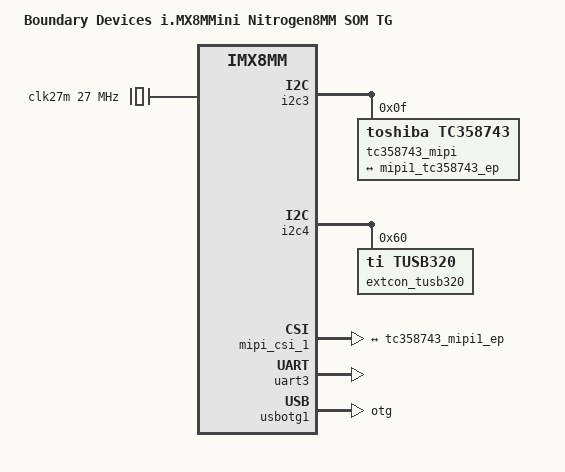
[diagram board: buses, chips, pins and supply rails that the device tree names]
// SPDX-License-Identifier: (GPL-2.0+ OR MIT)
/*
 * Copyright 2020 Boundary Devices
 */

#include "imx8mm-nitrogen8mm_som.dts"

/ {
	model = "Boundary Devices i.MX8MMini Nitrogen8MM SOM TG";
	compatible = "boundary,imx8mm-nitrogen8mm_som-tg", "fsl,imx8mm";

	/delete-node/ sound-wm8960;

	clk27m: clk27m {
		compatible = "fixed-clock";
		clock-output-names = "clk27m";
		clock-frequency = <27000000>;
		#clock-cells = <0>;
	};
};

&iomuxc {
	/delete-node/ i2c3-ov5640-mipigrp;

	pinctrl_i2c3_tc358743_mipi: i2c3-tc358743-mipigrp {
		fsl,pins = <
#define GP_TC3587_RESET	<&gpio4 22 GPIO_ACTIVE_LOW>
			MX8MMN(IOMUXC_SAI2_RXC_GPIO4_IO22, 0x101)
#define GP_TC3587_IRQ	<&gpio1 9 GPIO_ACTIVE_HIGH>
#define GPIRQ_TC3587	<&gpio1 9 IRQ_TYPE_LEVEL_HIGH>
			MX8MMN(IOMUXC_GPIO1_IO09_GPIO1_IO9, 0x1c1)
		>;
	};

	pinctrl_i2c4_usb320: i2c4-usb320grp {
		fsl,pins = <
#define GPIRQ_TUSB320	<&gpio4 19 IRQ_TYPE_LEVEL_LOW>
#define GP_TUSB320_IRQ	<&gpio4 19 GPIO_ACTIVE_LOW>
			MX8MMN(IOMUXC_SAI1_TXD7_GPIO4_IO19, 0x16)
			MX8MMN(IOMUXC_SAI1_TXD6_GPIO4_IO18, 0x00)
		>;
	};

	pinctrl_mipi_ls050t1sx12: mipi-ls050t1sx12grp {
		fsl,pins = <
		/* reset actually, but code calls it enable */
#define GP_MIPI_LS050_ENABLE	<&gpio1 1 GPIO_ACTIVE_HIGH>
			MX8MMN(IOMUXC_GPIO1_IO01_GPIO1_IO1, 0x100)
#define GP_MIPI_AVDD_ENABLE	<&gpio1 11 GPIO_ACTIVE_HIGH>
			MX8MMN(IOMUXC_GPIO1_IO11_GPIO1_IO11, 0x100)
		>;
	};

	pinctrl_uart3: uart3grp {
		fsl,pins = <
			MX8MMN(IOMUXC_ECSPI1_SCLK_UART3_DCE_RX, 0x140)
			MX8MMN(IOMUXC_ECSPI1_MOSI_UART3_DCE_TX, 0x140)
#define GP_UART3_RS485_RX_EN	<&gpio5 9 GPIO_ACTIVE_HIGH>	/* really active low */
			MX8MMN(IOMUXC_ECSPI1_SS0_GPIO5_IO9, 0x140)
#define GP_UART3_RS485_TX_EN	<&gpio5 8 GPIO_ACTIVE_HIGH>
			MX8MMN(IOMUXC_ECSPI1_MISO_GPIO5_IO8, 0x100)
		>;
	};

	pinctrl_usbotg1: usbotg1grp {
		fsl,pins = <
			MX8MMN(IOMUXC_GPIO1_IO12_USB1_OTG_PWR, 0x16)
			MX8MMN(IOMUXC_GPIO1_IO13_USB1_OTG_OC, 0x156)
		>;
	};
};

&backlight_mipi {
	brightness-levels = <0 1 2 3 4 5 6 7 8 9 10 11 12 13 14 15 16 17 18 19 20>;
	default-brightness-level = <16>;
};

&i2c2 {
	/delete-node/ rtc@68;
};

&i2c3 {
	/delete-node/ ov5640-mipi1@3c;

	tc358743_mipi@f {
		compatible = "toshiba,tc358743";
		pinctrl-names = "default";
		pinctrl-0 = <&pinctrl_i2c3_tc358743_mipi>;
		reg = <0x0f>;
		clocks = <&clk27m>;
		clock-names = "refclk";
		interrupts-extended = GPIRQ_TC3587;
		reset-gpios = GP_TC3587_RESET;
		status = "okay";

		port@0 {
			tc358743_mipi1_ep: endpoint {
				remote-endpoint = <&mipi1_tc358743_ep>;
				data-lanes = <1 2 3 4>;
				clock-lanes = <0>;
				clock-noncontinuous;
				link-frequencies = /bits/ 64 <297000000>;
			};
		};
	};
};

&i2c4 {
	/delete-node/ codec@1a;

	extcon_tusb320: tusb320@60 {
		compatible = "ti,tusb320";
		interrupts-extended = GPIRQ_TUSB320;
		mode-select = <3>;
		pinctrl-names = "default";
		pinctrl-0 = <&pinctrl_i2c4_usb320>;
		reg = <0x60>;
	};
};

&mipi_csi_1 {
	port {
		/delete-node/ endpoint@1;

		mipi1_tc358743_ep: endpoint@1 {
			remote-endpoint = <&tc358743_mipi1_ep>;
			data-lanes = <1 2 3 4>;
			csis-hs-settle = <13>;
			csis-clk-settle = <2>;
			csis-wclk;
		};
	};
};

&pcie0 {
	status = "disabled";
};

&uart3 {
	assigned-clocks = <&clk IMX8MMN(CLK_UART3)>;
	assigned-clock-parents = <&clk IMX8MMN(SYS_PLL1_80M)>;
	control-gpios = GP_UART3_RS485_TX_EN, GP_UART3_RS485_RX_EN;
	linux,rs485-enabled-at-boot-time;
	off_levels = <0>;
	pinctrl-names = "default";
	pinctrl-0 = <&pinctrl_uart3>;
	rs232_levels = <1>;
	rs232_txen_mask = <1>;
	rs232_txen_levels = <1>;
	rs485_levels = <0>;	/* enable rx */
	rs485_txen_mask = <1>;
	rs485_txen_levels = <1>;
	rxact_mask = <0>;	/* this is for rx activity led */
	rxact_levels = <0>;
	status = "okay";
};

&usbotg1 {
	dr_mode = "otg";
	extcon = <&extcon_tusb320>;
	over-current-active-low;
	pinctrl-names = "default";
	pinctrl-0 = <&pinctrl_usbotg1>;
	power-active-high;
	status = "okay";
	usb-role-switch;
};
